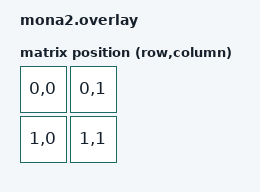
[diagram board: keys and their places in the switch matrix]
#include <dt-bindings/zmk/matrix_transform.h>

/ {
    chosen {
        zmk,kscan = &kscan0;
        zmk,matrix_transform = &default_transform;
    };

    default_transform: keymap_transform_0 {
        compatible = "zmk,matrix-transform";
        columns = <2>;
        rows = <2>;
        map = <
            RC(0,0) RC(0,1)
            RC(1,0) RC(1,1)
        >;
    };
};

&spi0 {
    status = "okay";
    compatible = "nordic,nrf-spim";
    sck-pin = <8>;
    mosi-pin = <10>;
    miso-pin = <9>;
    cs-gpios = <&gpio0 3 GPIO_ACTIVE_LOW>;

    trackball: pmw3610@0 {
        compatible = "pixart,pmw3610";
        reg = <0>;
        spi-max-frequency = <2000000>;
        irq-gpios = <&gpio0 2 (GPIO_ACTIVE_LOW | GPIO_PULL_UP)>;
    };
};
